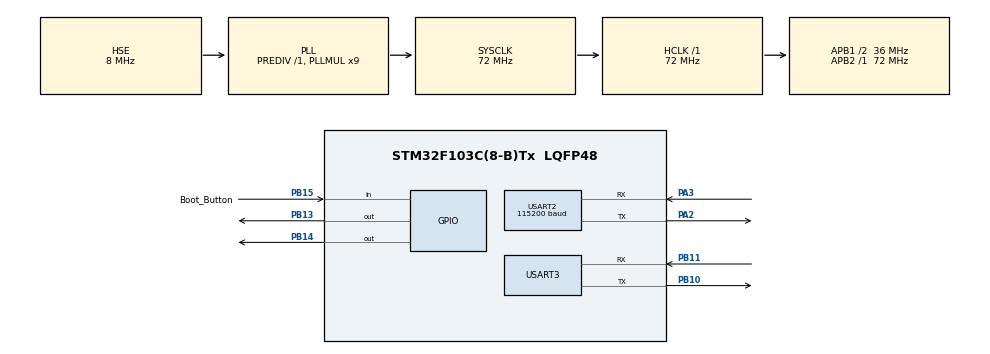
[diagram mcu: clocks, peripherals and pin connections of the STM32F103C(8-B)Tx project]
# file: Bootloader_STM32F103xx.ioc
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Mcu.Family=STM32F1
Mcu.Name=STM32F103C(8-B)Tx
Mcu.Package=LQFP48
NVIC.PriorityGroup=NVIC_PRIORITYGROUP_4
PA2.Mode=Asynchronous
PA2.Signal=USART2_TX
PA3.Mode=Asynchronous
PA3.Signal=USART2_RX
PB10.Mode=Asynchronous
PB10.Signal=USART3_TX
PB11.Mode=Asynchronous
PB11.Signal=USART3_RX
PB13.Signal=GPIO_Output
PB14.Signal=GPIO_Output
PB15.GPIO_Label=Boot_Button
PB15.GPIO_PuPd=GPIO_PULLUP
PB15.Signal=GPIO_Input
PD0-OSC_IN.Mode=HSE-External-Oscillator
PD0-OSC_IN.Signal=RCC_OSC_IN
PD1-OSC_OUT.Mode=HSE-External-Oscillator
PD1-OSC_OUT.Signal=RCC_OSC_OUT
ProjectManager.HeapSize=0x200
ProjectManager.StackSize=0x400
ProjectManager.TargetToolchain=STM32CubeIDE
RCC.AHBFreq_Value=72000000
RCC.APB1CLKDivider=RCC_HCLK_DIV2
RCC.APB1Freq_Value=36000000
RCC.APB1TimFreq_Value=72000000
RCC.APB2Freq_Value=72000000
RCC.APB2TimFreq_Value=72000000
RCC.HCLKFreq_Value=72000000
RCC.PLLMUL=RCC_PLL_MUL9
RCC.PLLSourceVirtual=RCC_PLLSOURCE_HSE
RCC.SYSCLKFreq_VALUE=72000000
RCC.SYSCLKSource=RCC_SYSCLKSOURCE_PLLCLK
RCC.USBFreq_Value=72000000
USART2.BaudRate=115200
USART2.VirtualMode=VM_ASYNC
USART3.VirtualMode=VM_ASYNC
VP_CRC_VS_CRC.Mode=CRC_Activate
VP_SYS_VS_ND.Mode=No_Debug
board=custom

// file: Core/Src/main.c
/* USER CODE BEGIN Header */
/**
  ******************************************************************************
  * @file           : main.c
  * @brief          : Main program body
  ******************************************************************************
  * @attention
  *
  * Copyright (c) 2023 STMicroelectronics.
  * All rights reserved.
  *
  * This software is licensed under terms that can be found in the LICENSE file
  * in the root directory of this software component.
  * If no LICENSE file comes with this software, it is provided AS-IS.
  *
  ******************************************************************************
  */
/* USER CODE END Header */
#include "main.h"

/* USER CODE BEGIN Includes */
#include <stdarg.h>
#include <string.h>
#include <stdio.h>

/* USER CODE END Includes */

/* USER CODE BEGIN PD */
#define BL_DEBUG_MSG_EN
#define D_UART	&huart3
#define C_UART	&huart2
#define RX_BUFFER_SIZE	200

/* USER CODE END PD */

CRC_HandleTypeDef hcrc;

UART_HandleTypeDef huart2;
UART_HandleTypeDef huart3;

void SystemClock_Config(void);
static void MX_GPIO_Init(void);
static void MX_USART2_UART_Init(void);
static void MX_CRC_Init(void);
static void MX_USART3_UART_Init(void);
/* USER CODE BEGIN PFP */
void printmsg(char *format,...);

/* USER CODE END PFP */

/* USER CODE BEGIN 0 */
uint8_t Glob_u8BLRxBuffer[RX_BUFFER_SIZE];
uint8_t Glob_u8BLCommCode[] = {
								BL_GET_VER,
								BL_GET_HELP,
								BL_GET_CID,
								BL_GET_RDP_STATUS,
								BL_GO_TO_ADDR,
								BL_FLASH_ERASE,
								BL_MEM_WRITE,
								BL_EN_R_W_PROTECT,
								BL_MEM_READ,
								BL_READ_SECTOR_STATUS,
};

/* USER CODE END 0 */

int main(void)
{

  /* MCU Configuration--------------------------------------------------------*/

  /* Reset of all peripherals, Initializes the Flash interface and the Systick. */
  HAL_Init();

  /* Configure the system clock */
  SystemClock_Config();

  /* Initialize all configured peripherals */
  MX_GPIO_Init();
  MX_USART2_UART_Init();
  MX_CRC_Init();
  MX_USART3_UART_Init();
  printmsg("DMSG: Welcome to Custom BootLoader...\n\r");
  HAL_Delay(2000);

  /* Infinite loop */
  /* USER CODE BEGIN WHILE */
  while (1)
  {

	  if(0 == HAL_GPIO_ReadPin(Boot_Button_GPIO_Port, Boot_Button_Pin))
	  {
		  printmsg("DMSG: Boot Button Is Pressed .. Going to BL Mood\n\r");
		  HAL_GPIO_WritePin(GPIOB,GPIO_PIN_14, GPIO_PIN_SET);
		  HAL_Delay(2000);
		  Boot_VidReadData();

	  }
	  else
	  {
		  printmsg("DMSG: Boot Button Is Not Pressed .. Going to User Application\n\r");
		  HAL_GPIO_WritePin(GPIOB,GPIO_PIN_13, GPIO_PIN_SET);
		  HAL_Delay(2000);
		  Boot_VidJumpUserCode();

	  }
    /* USER CODE END WHILE */

  }
}

void SystemClock_Config(void)
{
  RCC_OscInitTypeDef RCC_OscInitStruct = {0};
  RCC_ClkInitTypeDef RCC_ClkInitStruct = {0};

  /** Initializes the RCC Oscillators according to the specified parameters
  * in the RCC_OscInitTypeDef structure.
  */
  RCC_OscInitStruct.OscillatorType = RCC_OSCILLATORTYPE_HSE;
  RCC_OscInitStruct.HSEState = RCC_HSE_ON;
  RCC_OscInitStruct.HSEPredivValue = RCC_HSE_PREDIV_DIV1;
  RCC_OscInitStruct.HSIState = RCC_HSI_ON;
  RCC_OscInitStruct.PLL.PLLState = RCC_PLL_ON;
  RCC_OscInitStruct.PLL.PLLSource = RCC_PLLSOURCE_HSE;
  RCC_OscInitStruct.PLL.PLLMUL = RCC_PLL_MUL9;
  if (HAL_RCC_OscConfig(&RCC_OscInitStruct) != HAL_OK)
  {
    Error_Handler();
  }

  /** Initializes the CPU, AHB and APB buses clocks
  */
  RCC_ClkInitStruct.ClockType = RCC_CLOCKTYPE_HCLK|RCC_CLOCKTYPE_SYSCLK
                              |RCC_CLOCKTYPE_PCLK1|RCC_CLOCKTYPE_PCLK2;
  RCC_ClkInitStruct.SYSCLKSource = RCC_SYSCLKSOURCE_PLLCLK;
  RCC_ClkInitStruct.AHBCLKDivider = RCC_SYSCLK_DIV1;
  RCC_ClkInitStruct.APB1CLKDivider = RCC_HCLK_DIV2;
  RCC_ClkInitStruct.APB2CLKDivider = RCC_HCLK_DIV1;

  if (HAL_RCC_ClockConfig(&RCC_ClkInitStruct, FLASH_LATENCY_2) != HAL_OK)
  {
    Error_Handler();
  }
}

static void MX_CRC_Init(void)
{

  hcrc.Instance = CRC;
  if (HAL_CRC_Init(&hcrc) != HAL_OK)
  {
    Error_Handler();
  }

}

static void MX_USART2_UART_Init(void)
{

  huart2.Instance = USART2;
  huart2.Init.BaudRate = 115200;
  huart2.Init.WordLength = UART_WORDLENGTH_8B;
  huart2.Init.StopBits = UART_STOPBITS_1;
  huart2.Init.Parity = UART_PARITY_NONE;
  huart2.Init.Mode = UART_MODE_TX_RX;
  huart2.Init.HwFlowCtl = UART_HWCONTROL_NONE;
  huart2.Init.OverSampling = UART_OVERSAMPLING_16;
  if (HAL_UART_Init(&huart2) != HAL_OK)
  {
    Error_Handler();
  }

}

static void MX_USART3_UART_Init(void)
{

  huart3.Instance = USART3;
  huart3.Init.BaudRate = 115200;
  huart3.Init.WordLength = UART_WORDLENGTH_8B;
  huart3.Init.StopBits = UART_STOPBITS_1;
  huart3.Init.Parity = UART_PARITY_NONE;
  huart3.Init.Mode = UART_MODE_TX_RX;
  huart3.Init.HwFlowCtl = UART_HWCONTROL_NONE;
  huart3.Init.OverSampling = UART_OVERSAMPLING_16;
  if (HAL_UART_Init(&huart3) != HAL_OK)
  {
    Error_Handler();
  }

}

static void MX_GPIO_Init(void)
{
  GPIO_InitTypeDef GPIO_InitStruct = {0};

  /* GPIO Ports Clock Enable */
  __HAL_RCC_GPIOD_CLK_ENABLE();
  __HAL_RCC_GPIOA_CLK_ENABLE();
  __HAL_RCC_GPIOB_CLK_ENABLE();

  /*Configure GPIO pin Output Level */
  HAL_GPIO_WritePin(GPIOB, GPIO_PIN_13|GPIO_PIN_14, GPIO_PIN_RESET);

  /*Configure GPIO pins : PB13 PB14 */
  GPIO_InitStruct.Pin = GPIO_PIN_13|GPIO_PIN_14;
  GPIO_InitStruct.Mode = GPIO_MODE_OUTPUT_PP;
  GPIO_InitStruct.Pull = GPIO_NOPULL;
  GPIO_InitStruct.Speed = GPIO_SPEED_FREQ_LOW;
  HAL_GPIO_Init(GPIOB, &GPIO_InitStruct);

  /*Configure GPIO pin : Boot_Button_Pin */
  GPIO_InitStruct.Pin = Boot_Button_Pin;
  GPIO_InitStruct.Mode = GPIO_MODE_INPUT;
  GPIO_InitStruct.Pull = GPIO_PULLUP;
  HAL_GPIO_Init(Boot_Button_GPIO_Port, &GPIO_InitStruct);

}

/* USER CODE BEGIN 4 */
void printmsg(char *format,...)
{
#ifdef BL_DEBUG_MSG_EN
	char str[80];
	va_list args;
	va_start(args, format);
	vsprintf(str, format, args);
	HAL_UART_Transmit(D_UART, (uint8_t*)str, strlen(str), HAL_MAX_DELAY);
	va_end(args);
#endif
}

void Boot_VidJumpUserCode()
{
/*Pointer to function which will hold the address of the reset handler of the user app*/
	void (*Loc_PAppRstHandler)(void);
	printmsg("DBMSG: Bootloader will jumb to user app\n\r");
	HAL_Delay(1000);
/*
 * Configure the M stack pointer by reading the value form the base address
 * of user application flash page.
 * Note: The first byte is MSP Value and Second byte is Reset Handle address value
 * */
	uint32_t MSP = (*(volatile uint32_t*)APP_FLASH_PAGE_BASE_ADDRESS);
	printmsg("DBMSG: MSP Address = %#x\n\r",MSP);
/*
 * API __set_MSP change the MSP value which access the MSP register and install it with the MSP
 * Value of the user application
 * */
	__set_MSP(MSP);
	// Store the VTOR = APP_FLASH_PAGE_BASE_ADDRESS in startup code

	/*
	 * Now fetch the new reset handler address of the user application
	 * from the location APP_FLASH_PAGE_BASE_ADDRESS + 4
	 * */
	uint32_t ResetHandler_Address = (*(volatile uint32_t*)(APP_FLASH_PAGE_BASE_ADDRESS+4));
	Loc_PAppRstHandler = (void*)ResetHandler_Address;
	printmsg("DBMSG: App Reset Handler Address = %#x\n\r",Loc_PAppRstHandler);
	/*Jumping to Application reset handler address*/
	Loc_PAppRstHandler();

}
void Boot_VidReadData()
{

	uint8_t Loc_u8RxLen = 0;
	while(1)
	{
		memset(Glob_u8BLRxBuffer,0,200);
		HAL_UART_Receive(C_UART, Glob_u8BLRxBuffer, 1, HAL_MAX_DELAY);
		Loc_u8RxLen = Glob_u8BLRxBuffer[0];
		HAL_UART_Receive(C_UART, &Glob_u8BLRxBuffer[1], Loc_u8RxLen, HAL_MAX_DELAY);
		switch(Glob_u8BLRxBuffer[1])
		{
			case BL_GET_VER:
				bootloader_handel_getver_cmd(Glob_u8BLRxBuffer);
				break;
			case BL_GET_HELP:
				bootloader_handel_gethelp_cmd(Glob_u8BLRxBuffer);
				break;
			case BL_GET_CID:
				bootloader_handel_getcid_cmd(Glob_u8BLRxBuffer);
				break;
			case BL_GET_RDP_STATUS:
				bootloader_handel_getrdp_cmd(Glob_u8BLRxBuffer);
				break;
			case BL_GO_TO_ADDR:
				bootloader_handel_goto_cmd(Glob_u8BLRxBuffer);
				break;
			case BL_FLASH_ERASE:
				bootloader_handel_flash_erase_cmd(Glob_u8BLRxBuffer);
				break;
			case BL_MEM_WRITE:
				bootloader_handel_mem_write_cmd(Glob_u8BLRxBuffer);
				break;
			case BL_EN_R_W_PROTECT:
				bootloader_handel_en_rw_protect_cmd(Glob_u8BLRxBuffer);
				break;
			case BL_MEM_READ:
				bootloader_handel_mem_read_cmd(Glob_u8BLRxBuffer);
				break;
			case BL_READ_SECTOR_STATUS:
				bootloader_handel_read_sector_cmd(Glob_u8BLRxBuffer);
				break;
			case BL_OTP_READ:
				bootloader_handel_otp_read_cmd(Glob_u8BLRxBuffer);
				break;
			case BL_DIS_R_W_PROTECT:
				bootloader_handel_dis_rw_protect_cmd(Glob_u8BLRxBuffer);
				break;
			default:
				printmsg("DBMSG: Invalid command code recived from host\n");
		}

	}

}
void bootloader_handel_getver_cmd(uint8_t *pBuffer)
{
	uint8_t Loc_u8BLVersion;
	printmsg("DBMSG: Boot loader handle getver command:\n");

	//Length of the whole Command Backet
	uint32_t Loc_u32CommandBacketLen = pBuffer[0]+1;
	//Extract the CRC sent by the host
	// 4 is the length size of the CRC -> 4 BYTES / 32 bits
	uint32_t Loc_u32HostCRC = (*(uint32_t*)(pBuffer + Loc_u32CommandBacketLen - 4)) ;

	if(! bootloader_verify_crc(&pBuffer[0],Loc_u32CommandBacketLen-4 ,Loc_u32HostCRC))
	{
		printmsg("DBMSG: Checksum success..\n");
		bootloader_send_ack(pBuffer[0],1);
		Loc_u8BLVersion = BL_VERSION;
		printmsg("DBMSG: BL_Version: %d %#x\n",Loc_u8BLVersion, Loc_u8BLVersion);
		HAL_UART_Transmit(C_UART, &Loc_u8BLVersion, 1, HAL_MAX_DELAY);
	}
	else
	{
		printmsg("DBMSG: Checksum fail..\n");
		bootloader_send_nack();
	}

}
void bootloader_handel_gethelp_cmd(uint8_t *pBuffer)
{
	printmsg("DBMSG: Boot loader handle gethelp command:\n");

	//Length of the whole Command Backet
	uint32_t Loc_u32CommandBacketLen = pBuffer[0]+1;
	//Extract the CRC sent by the host
	// 4 is the length size of the CRC -> 4 BYTES / 32 bits
	uint32_t Loc_u32HostCRC = *(uint32_t*)(pBuffer + Loc_u32CommandBacketLen - 4) ;

	if(! bootloader_verify_crc(&pBuffer[0],Loc_u32CommandBacketLen-4 ,Loc_u32HostCRC))
	{
		printmsg("DBMSG: Checksum success..\n");
		bootloader_send_ack(pBuffer[0],sizeof(Glob_u8BLCommCode));
		HAL_UART_Transmit(C_UART, Glob_u8BLCommCode,sizeof(Glob_u8BLCommCode) , HAL_MAX_DELAY);
	}
	else
	{
		printmsg("DBMSG: Checksum fail..\n");
		bootloader_send_nack();
	}

}
void bootloader_handel_getcid_cmd(uint8_t *pBuffer)
{
	uint16_t Loc_u16ChipID = 0;
	printmsg("DBMSG: Boot loader handle getcid command:\n");

	//Length of the whole Command Backet
	uint32_t Loc_u32CommandBacketLen = pBuffer[0]+1;
	//Extract the CRC sent by the host
	// 4 is the length size of the CRC -> 4 BYTES / 32 bits
	uint32_t Loc_u32HostCRC = *(uint32_t*)(pBuffer + Loc_u32CommandBacketLen - 4) ;

	if(! bootloader_verify_crc(&pBuffer[0],Loc_u32CommandBacketLen-4 ,Loc_u32HostCRC))
	{
		printmsg("DBMSG: Checksum success..\n");
		bootloader_send_ack(pBuffer[0],2);
		Loc_u16ChipID = Chip_u16GetID();
		printmsg("DBMSG: Chip ID: %d %#x\n",Loc_u16ChipID, Loc_u16ChipID);
		//Loc_u8ChipID casted to u8 as uart sends 1 byte per time and the length of total data is 2 bytes
		HAL_UART_Transmit(C_UART, (uint8_t*)&Loc_u16ChipID, 2, HAL_MAX_DELAY);
	}
	else
	{
		printmsg("DBMSG: Checksum fail..\n");
		bootloader_send_nack();
	}

}
uint16_t Chip_u16GetID(void)
{
	uint16_t Loc_u16Cid;
	//Loc_u16Cid is reserved in the first 12bit of 32bit register
	// so the register is casted to u16 and masked for the first 12bit
	Loc_u16Cid =  (uint16_t)(DBGMCU->IDCODE) & 0x0FFF;
	return Loc_u16Cid;
}
void bootloader_handel_getrdp_cmd(uint8_t *pBuffer)
{
	uint16_t Loc_u16RDPValue = 0;
	printmsg("DBMSG: Boot loader handle getrdp command:\n");

	//Length of the whole Command Backet
	uint32_t Loc_u32CommandBacketLen = pBuffer[0]+1;
	//Extract the CRC sent by the host
	// 4 is the length size of the CRC -> 4 BYTES / 32 bits
	uint32_t Loc_u32HostCRC = *(uint32_t*)(pBuffer + Loc_u32CommandBacketLen - 4) ;

	if(! bootloader_verify_crc(&pBuffer[0],Loc_u32CommandBacketLen-4 ,Loc_u32HostCRC))
	{
		printmsg("DBMSG: Checksum success..\n");
		bootloader_send_ack(pBuffer[0],2);
		Loc_u16RDPValue = Mem_u16GetRDP();
		printmsg("DBMSG: RDP Value: %d %#x\n",Loc_u16RDPValue, Loc_u16RDPValue);
		//Loc_u16RDPValue casted to u8 as uart sends 1 byte per time and the length of total data is 2 bytes
		HAL_UART_Transmit(C_UART, (uint8_t*)&Loc_u16RDPValue, 2, HAL_MAX_DELAY);
	}
	else
	{
		printmsg("DBMSG: Checksum fail..\n");
		bootloader_send_nack();
	}
}
uint16_t Mem_u16GetRDP(void)
{
	uint16_t Loc_u16RDBStatus;
	volatile uint32_t *Ptr_u32RDBAdd = (uint32_t*)0x1FFFF800;
	Loc_u16RDBStatus =  (uint16_t)(*Ptr_u32RDBAdd);
	return Loc_u16RDBStatus;
}

void bootloader_handel_goto_cmd(uint8_t *pBuffer)
{
	uint32_t Loc_u32MemAdd = 0;
	uint8_t	Loc_u8ValidAdd = ADDR_VALID;
	uint8_t Loc_u8InvalidAdd = ADDR_INVALID;
	printmsg("DBMSG: Boot loader handle goto command:\n");
	//Length of the whole Command Backet
	uint32_t Loc_u32CommandBacketLen = pBuffer[0]+1;
	//Extract the CRC sent by the host
	// 4 is the length size of the CRC -> 4 BYTES / 32 bits
	uint32_t Loc_u32HostCRC = *(uint32_t*)(pBuffer + Loc_u32CommandBacketLen - 4) ;

	if(! bootloader_verify_crc(&pBuffer[0],Loc_u32CommandBacketLen-4 ,Loc_u32HostCRC))
	{
		printmsg("DBMSG: Checksum success..\n");
		bootloader_send_ack(pBuffer[0],1);
		Loc_u32MemAdd = (uint32_t)pBuffer[2];
		printmsg("DBMSG: Go to Address Value: %d %#x\n",Loc_u32MemAdd, Loc_u32MemAdd);
		if(MEM_u8VerifyAdd(Loc_u32MemAdd) == ADDR_VALID)
		{
			HAL_UART_Transmit(C_UART, (uint8_t*)&Loc_u8ValidAdd, 1, HAL_MAX_DELAY);
			//Must increment 1 to the address consideing the T bit
			Loc_u32MemAdd += 1;
			void (*Jump_To_ADD)(void) = (void*)Loc_u32MemAdd;
			printmsg("DBMSG: Jumping to Address..\n");
			Jump_To_ADD();
		}
		else
		{
			printmsg("DBMSG: Invalid Address..\n");
			HAL_UART_Transmit(C_UART, (uint8_t*)&Loc_u8InvalidAdd, 1, HAL_MAX_DELAY);
		}
	}
	else
	{
		printmsg("DBMSG: Checksum fail..\n");
		bootloader_send_nack();
	}

}
uint8_t MEM_u8VerifyAdd(uint32_t Cpy_u32MemAdd)
{
/*
 * We can Jump only accessible addresses not XN region such as:
 * 		-	System Memory
 * 		-	SRAM Memory
 * 		- 	External SRAM Memory
 * 		-	Backup Memory
 * 		-	Flash Memory
 * 		-	External Flash memory
 * 		-	etc..
 * in STM32F103C8T6 we only have Flash and SRAM Memories
 * */
	if(Cpy_u32MemAdd >= SRAM_BASE && Cpy_u32MemAdd <= SRAM_END)
	{
		return ADDR_VALID;
	}
	else if(Cpy_u32MemAdd >= FLASH_BASE && Cpy_u32MemAdd <= FLASH_END)
	{
		return ADDR_VALID;
	}
	else
	{
		return ADDR_INVALID;
	}
}
void bootloader_handel_flash_erase_cmd(uint8_t *pBuffer)
{
	uint8_t Loc_u8EraseStatus = 0x00;
	printmsg("DBMSG: Boot loader handle flash erase command:\n");

	//Length of the whole Command Backet
	uint32_t Loc_u32CommandBacketLen = pBuffer[0]+1;
	//Extract the CRC sent by the host
	// 4 is the length size of the CRC -> 4 BYTES / 32 bits
	uint32_t Loc_u32HostCRC = *(uint32_t*)(pBuffer + Loc_u32CommandBacketLen - 4) ;

	if(! bootloader_verify_crc(&pBuffer[0],Loc_u32CommandBacketLen-4 ,Loc_u32HostCRC))
	{
		printmsg("DBMSG: Checksum success..\n");
		bootloader_send_ack(pBuffer[0],1);
		printmsg("DBMSG: Initial page: %d  Number of pages: %d\n",pBuffer[2], pBuffer[3]);
		HAL_GPIO_WritePin(GPIOB, GPIO_PIN_14, GPIO_PIN_SET);
		Loc_u8EraseStatus = Mem_u8FlashErase(pBuffer[2],pBuffer[3]);
		HAL_GPIO_WritePin(GPIOB, GPIO_PIN_14, GPIO_PIN_RESET);
		//Loc_u16RDPValue casted to u8 as uart sends 1 byte per time and the length of total data is 2 bytes
		printmsg("DBMSG: Flash Erase status: %d",Loc_u8EraseStatus);
		HAL_UART_Transmit(C_UART, (uint8_t*)&Loc_u8EraseStatus, 1, HAL_MAX_DELAY);
	}
	else
	{
		printmsg("DBMSG: Checksum fail..\n");
		bootloader_send_nack();
	}

}
uint8_t Mem_u8FlashErase(uint8_t Cpy_u8PageNum, uint8_t Cpy_u8NumOfPages)
{
	HAL_StatusTypeDef Status;
	FLASH_EraseInitTypeDef FlashErase_Handel;
	uint32_t Loc_u32PageAddress;
	uint32_t Loc_u32PageError;
	/* There are 64 page in STM32F103C8T6 from page [0 to 63] */
	/* Number of Cpy_u8NumOfPages must be from 0 to 63 */
	/* if Cpy_u8InitPage == 0xff -> Means Mass Erase */
	if (Cpy_u8NumOfPages > 64)
	{
		return INVALID_PAGE; // ADD DEFIN
	}

	if ((Cpy_u8PageNum == 0xff) || ((Cpy_u8PageNum <= 63) && (Cpy_u8PageNum + Cpy_u8NumOfPages <=64 ) ))
	{
		if (Cpy_u8PageNum == (uint8_t)0xff)
		{
			FlashErase_Handel.TypeErase = FLASH_TYPEERASE_MASSERASE;
		}
		else
		{
			Loc_u32PageAddress = FLASH_BASE + (Cpy_u8PageNum * (uint32_t)1024);
			//uint8_t Loc_u8RemainingPage = 64 - Cpy_u8NumOfPages;
			//if(Cpy_u8NumOfPages > Loc_u8RemainingPage)
			//{
				//Cpy_u8NumOfPages = Loc_u8RemainingPage;
			//}

			FlashErase_Handel.TypeErase = FLASH_TYPEERASE_PAGES;
			FlashErase_Handel.PageAddress = Loc_u32PageAddress;
			FlashErase_Handel.NbPages = Cpy_u8NumOfPages;
		}
		FlashErase_Handel.Banks = FLASH_BANK_1;
		HAL_FLASH_Unlock();
		Status = (uint8_t)HAL_FLASHEx_Erase(&FlashErase_Handel, &Loc_u32PageError);
		HAL_FLASH_Lock();
		return Status;
	}
	return INVALID_PAGE;
}
void bootloader_handel_mem_write_cmd(uint8_t *pBuffer)
{
	uint8_t Loc_u8WriteStatus = 0x00;
	uint8_t Loc_u8CheckSum = 0;
	uint8_t Loc_u8Len = 0;
	Loc_u8Len = pBuffer[0];
	uint8_t Loc_u8PayLoadLen = pBuffer[6];
	uint32_t Loc_u32MemAddress = (*(uint32_t*)(&pBuffer[2]));
	Loc_u8CheckSum = pBuffer[Loc_u8Len];
	printmsg("DBMSG: Boot loader handle Mem Write command:\n");
	//Length of the whole Command Backet
	uint32_t Loc_u32CommandBacketLen = pBuffer[0]+1;
	//Extract the CRC sent by the host
	// 4 is the length size of the CRC -> 4 BYTES / 32 bits
	uint32_t Loc_u32HostCRC = *(uint32_t*)(pBuffer + Loc_u32CommandBacketLen - 4) ;

	if(! bootloader_verify_crc(&pBuffer[0],Loc_u32CommandBacketLen-4 ,Loc_u32HostCRC))
	{
		printmsg("DBMSG: Checksum success..\n");
		bootloader_send_ack(pBuffer[0],1);
		printmsg("DBMSG: Memory write address %d...\n",Loc_u32MemAddress);
		if(MEM_u8VerifyAdd(Loc_u32MemAddress) == ADDR_VALID)
		{
			printmsg("DBMSG: Memory address valid...\n");
			HAL_GPIO_WritePin(GPIOB, GPIO_PIN_14, GPIO_PIN_SET);
			Loc_u8WriteStatus = Mem_u8FlashWrite(&pBuffer[7],Loc_u32MemAddress, Loc_u8PayLoadLen);
			HAL_GPIO_WritePin(GPIOB, GPIO_PIN_14, GPIO_PIN_RESET);
			printmsg("DBMSG: Flash Write status: %d",Loc_u8WriteStatus);
			HAL_UART_Transmit(C_UART, (uint8_t*)&Loc_u8WriteStatus, 1, HAL_MAX_DELAY);
			}
		else
		{
			printmsg("DBMSG: Invalid Address..\n");
			Loc_u8WriteStatus = ADDR_INVALID;
			HAL_UART_Transmit(C_UART, (uint8_t*)&Loc_u8WriteStatus, 1, HAL_MAX_DELAY);
		}
	}
	else
	{
		printmsg("DBMSG: Checksum fail..\n");
		bootloader_send_nack();
	}
}
uint8_t Mem_u8FlashWrite(uint8_t *dBuffer, uint32_t Cpy_u32MemAddr,uint32_t Cpy_u32Len)
{
	uint8_t Loc_u8Status =HAL_OK;
	HAL_FLASH_Unlock();
	for(uint32_t i = 0 ; i<Cpy_u32Len ; i++)
	{
		Loc_u8Status = HAL_FLASH_Program(FLASH_TYPEPROGRAM_HALFWORD, Cpy_u32MemAddr+i, dBuffer[i]);
	}
	HAL_FLASH_Lock();
	return Loc_u8Status;
}
void bootloader_handel_en_rw_protect_cmd(uint8_t *pBuffer)
{

}
void bootloader_handel_mem_read_cmd(uint8_t *pBuffer)
{

}
void bootloader_handel_read_sector_cmd(uint8_t *pBuffer)
{

}
void bootloader_handel_otp_read_cmd(uint8_t *pBuffer)
{

}
void bootloader_handel_dis_rw_protect_cmd(uint8_t *pBuffer)
{

}
/****************************************** CRC **********************************************/
void bootloader_send_ack(uint8_t Cpy_u8CommandCode, uint8_t Cpy_u8FollowLen)
{
	uint8_t Loc_u8AckBuff[2];
	Loc_u8AckBuff[0] = BL_ACK;
	Loc_u8AckBuff[1] = Cpy_u8FollowLen;
	HAL_UART_Transmit(C_UART, Loc_u8AckBuff, 2, HAL_MAX_DELAY);

}

void bootloader_send_nack()
{
	uint8_t Loc_u8NAck = BL_NACK;
	HAL_UART_Transmit(C_UART, &Loc_u8NAck, 1, HAL_MAX_DELAY);
}
uint8_t bootloader_verify_crc(uint8_t *pData, uint32_t Cpy_u8Len, uint32_t crc_host)
{
	uint32_t uwCRCValue= 0xff;
	for(uint32_t i = 0 ; i < Cpy_u8Len ; i++)
	{
		uint32_t i_data = pData[i];
		uwCRCValue = HAL_CRC_Accumulate(&hcrc, &i_data, 1);
	}

	__HAL_CRC_DR_RESET(&hcrc);

	if(uwCRCValue == crc_host)
	{
		return VERIFY_CRC_SUCCESS;
	}

		return VERIFY_CRC_FAIL;

}

/****************************************************************************************/

/* USER CODE END 4 */

void Error_Handler(void)
{
  __disable_irq();
  while (1)
  {
  }
}
